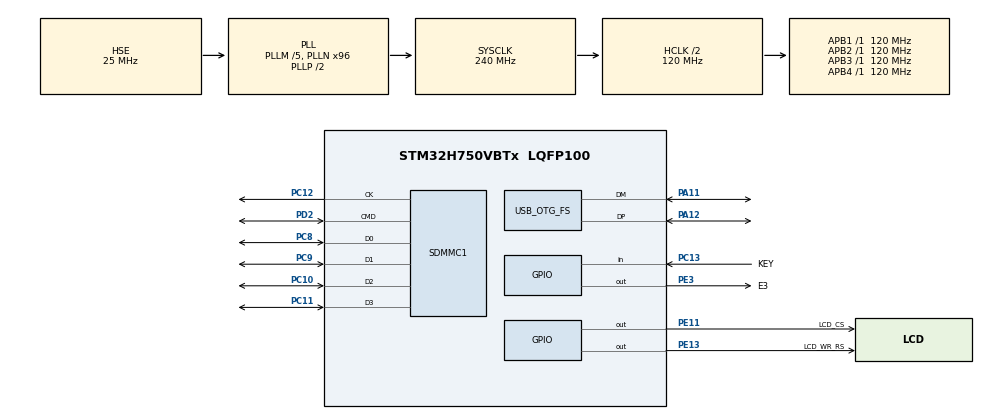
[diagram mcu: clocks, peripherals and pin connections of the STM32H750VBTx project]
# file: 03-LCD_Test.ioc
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Mcu.Family=STM32H7
Mcu.Name=STM32H750VBTx
Mcu.Package=LQFP100
NVIC.OTG_FS_IRQn=true\:0\:0\:false\:false\:true\:false\:true\:true
NVIC.PriorityGroup=NVIC_PRIORITYGROUP_4
PA11.Mode=Device_Only
PA11.Signal=USB_OTG_FS_DM
PA12.Mode=Device_Only
PA12.Signal=USB_OTG_FS_DP
PA13\ (JTMS/SWDIO).Mode=Serial_Wire
PA13\ (JTMS/SWDIO).Signal=DEBUG_JTMS-SWDIO
PA14\ (JTCK/SWCLK).Mode=Serial_Wire
PA14\ (JTCK/SWCLK).Signal=DEBUG_JTCK-SWCLK
PC10.Mode=SD_4_bits_Wide_bus
PC10.Signal=SDMMC1_D2
PC11.Mode=SD_4_bits_Wide_bus
PC11.Signal=SDMMC1_D3
PC12.Mode=SD_4_bits_Wide_bus
PC12.Signal=SDMMC1_CK
PC13.GPIO_Label=KEY
PC13.GPIO_PuPd=GPIO_PULLDOWN
PC13.Signal=GPIO_Input
PC14-OSC32_IN\ (OSC32_IN).Mode=LSE-External-Oscillator
PC14-OSC32_IN\ (OSC32_IN).Signal=RCC_OSC32_IN
PC15-OSC32_OUT\ (OSC32_OUT).Mode=LSE-External-Oscillator
PC15-OSC32_OUT\ (OSC32_OUT).Signal=RCC_OSC32_OUT
PC8.Mode=SD_4_bits_Wide_bus
PC8.Signal=SDMMC1_D0
PC9.Mode=SD_4_bits_Wide_bus
PC9.Signal=SDMMC1_D1
PD2.Mode=SD_4_bits_Wide_bus
PD2.Signal=SDMMC1_CMD
PE10.Signal=TIM1_CH2N
PE11.GPIO_Label=LCD_CS
PE11.GPIO_Speed=GPIO_SPEED_FREQ_VERY_HIGH
PE11.PinState=GPIO_PIN_SET
PE11.Signal=GPIO_Output
PE12.GPIO_Speed=GPIO_SPEED_FREQ_HIGH
PE12.Signal=SPI4_SCK
PE13.GPIO_Label=LCD_WR_RS
PE13.GPIO_Speed=GPIO_SPEED_FREQ_VERY_HIGH
PE13.PinState=GPIO_PIN_SET
PE13.Signal=GPIO_Output
PE14.GPIO_Speed=GPIO_SPEED_FREQ_HIGH
PE14.Signal=SPI4_MOSI
PE3.GPIO_Label=E3
PE3.PinState=GPIO_PIN_RESET
PE3.Signal=GPIO_Output
PH0-OSC_IN\ (PH0).Mode=HSE-External-Oscillator
PH0-OSC_IN\ (PH0).Signal=RCC_OSC_IN
PH1-OSC_OUT\ (PH1).Mode=HSE-External-Oscillator
PH1-OSC_OUT\ (PH1).Signal=RCC_OSC_OUT
ProjectManager.HeapSize=0x200
ProjectManager.StackSize=0x400
ProjectManager.TargetToolchain=MDK-ARM V5.27
RCC.ADCFreq_Value=75000000
RCC.APB1Freq_Value=120000000
RCC.APB2Freq_Value=120000000
RCC.APB3Freq_Value=120000000
RCC.APB4Freq_Value=120000000
RCC.CortexFreq_Value=240000000
RCC.DIVM1=5
RCC.DIVM2=5
RCC.DIVN1=96
RCC.DIVN2=30
RCC.DIVQ2=128
RCC.DIVQ3=128
RCC.DIVR2=1
RCC.HCLKFreq_Value=120000000
RCC.HPRE=RCC_HCLK_DIV2
RCC.HSE_VALUE=25000000
RCC.PLLFRACN=0
RCC.PLLSourceVirtual=RCC_PLLSOURCE_HSE
RCC.PWR_Regulator_Voltage_Scale=PWR_REGULATOR_VOLTAGE_SCALE0
RCC.ProductRev=revV
RCC.RTCClockSelection=RCC_RTCCLKSOURCE_LSE
RCC.SDMMC1CLockSelection=RCC_SDMMCCLKSOURCE_PLL2
RCC.SYSCLKFreq_VALUE=240000000
RCC.SYSCLKSource=RCC_SYSCLKSOURCE_PLLCLK
RCC.USBCLockSelection=RCC_USBCLKSOURCE_HSI48
RCC.USBFreq_Value=48000000
SDMMC1.ClockDiv=5
USB_DEVICE.CLASS_NAME_FS=CDC
USB_DEVICE.VirtualMode-CDC_FS=Cdc
USB_DEVICE.VirtualModeFS=Cdc_FS
USB_OTG_FS.VirtualMode=Device_Only
VP_USB_DEVICE_VS_USB_DEVICE_CDC_FS.Mode=CDC_FS
board=custom

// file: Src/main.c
/* USER CODE BEGIN Header */
/**
  ******************************************************************************
  * @file           : main.c
  * @brief          : Main program body
  ******************************************************************************
  * @attention
  *
  * <h2><center>&copy; Copyright (c) 2020 STMicroelectronics.
  * All rights reserved.</center></h2>
  *
  * This software component is licensed by ST under BSD 3-Clause license,
  * the "License"; You may not use this file except in compliance with the
  * License. You may obtain a copy of the License at:
  *                        opensource.org/licenses/BSD-3-Clause
  *
  ******************************************************************************
  */
/* USER CODE END Header */
#include "main.h"
#include "sdmmc.h"
#include "usb_device.h"
#include "gpio.h"

/* USER CODE BEGIN Includes */
#include "lcd.h"
#include "Dsp_if.h"
#include "Data_if.h"
/* USER CODE END Includes */

/* USER CODE BEGIN PV */
static volatile float f4l_Main_Mean;
static volatile float f4l_Main_Variance;
static volatile float f4l_Main_StandardDeviation;
static volatile float f4l_Main_ArmStandardDeviation;
/* USER CODE END PV */

void SystemClock_Config(void);

/* USER CODE BEGIN 0 */

static void LED_Blink(uint32_t Hdelay,uint32_t Ldelay)
{
  HAL_GPIO_WritePin(E3_GPIO_Port,E3_Pin,GPIO_PIN_SET);
  HAL_Delay(Hdelay - 1);
  HAL_GPIO_WritePin(E3_GPIO_Port,E3_Pin,GPIO_PIN_RESET);
  HAL_Delay(Ldelay-1);
}

/* USER CODE END 0 */

int main(void)
{

  /* MCU Configuration--------------------------------------------------------*/

  /* Reset of all peripherals, Initializes the Flash interface and the Systick. */
  HAL_Init();

  /* Configure the system clock */
  SystemClock_Config();

  /* Initialize all configured peripherals */
  MX_GPIO_Init();
  MX_SDMMC1_SD_Init();
  MX_USB_DEVICE_Init();
  /* USER CODE BEGIN 2 */
  vog_Dsp_CalSignalMean( &inputSignal_f32_1kHz_15kHz[0],
                         U1L_DATA_f32_1kHz_15kHz_LENGTH,
                         (float*)&f4l_Main_Mean );

  vog_Dsp_CalVariance( &inputSignal_f32_1kHz_15kHz[0],
                        U1L_DATA_f32_1kHz_15kHz_LENGTH,
                        f4l_Main_Mean,
                        (float*)&f4l_Main_Variance );

  vog_Dsp_CalStandardDeviation( &inputSignal_f32_1kHz_15kHz[0],
                                U1L_DATA_f32_1kHz_15kHz_LENGTH,
                                f4l_Main_Mean,
                                (float*)&f4l_Main_StandardDeviation );

  arm_std_f32( &inputSignal_f32_1kHz_15kHz[0],
               U1L_DATA_f32_1kHz_15kHz_LENGTH,
               (float*)&f4l_Main_ArmStandardDeviation );

  /* USER CODE END 2 */

  /* Infinite loop */
  while (1)
  {

  }
}

void SystemClock_Config(void)
{
  RCC_OscInitTypeDef RCC_OscInitStruct = {0};
  RCC_ClkInitTypeDef RCC_ClkInitStruct = {0};

  /** Supply configuration update enable
  */
  HAL_PWREx_ConfigSupply(PWR_LDO_SUPPLY);

  /** Configure the main internal regulator output voltage
  */
  __HAL_PWR_VOLTAGESCALING_CONFIG(PWR_REGULATOR_VOLTAGE_SCALE1);

  while(!__HAL_PWR_GET_FLAG(PWR_FLAG_VOSRDY)) {}

  __HAL_RCC_SYSCFG_CLK_ENABLE();
  __HAL_PWR_VOLTAGESCALING_CONFIG(PWR_REGULATOR_VOLTAGE_SCALE0);

  while(!__HAL_PWR_GET_FLAG(PWR_FLAG_VOSRDY)) {}

  /** Initializes the RCC Oscillators according to the specified parameters
  * in the RCC_OscInitTypeDef structure.
  */
  RCC_OscInitStruct.OscillatorType = RCC_OSCILLATORTYPE_HSI48|RCC_OSCILLATORTYPE_HSE;
  RCC_OscInitStruct.HSEState = RCC_HSE_ON;
  RCC_OscInitStruct.HSI48State = RCC_HSI48_ON;
  RCC_OscInitStruct.PLL.PLLState = RCC_PLL_ON;
  RCC_OscInitStruct.PLL.PLLSource = RCC_PLLSOURCE_HSE;
  RCC_OscInitStruct.PLL.PLLM = 5;
  RCC_OscInitStruct.PLL.PLLN = 96;
  RCC_OscInitStruct.PLL.PLLP = 2;
  RCC_OscInitStruct.PLL.PLLQ = 2;
  RCC_OscInitStruct.PLL.PLLR = 2;
  RCC_OscInitStruct.PLL.PLLRGE = RCC_PLL1VCIRANGE_2;
  RCC_OscInitStruct.PLL.PLLVCOSEL = RCC_PLL1VCOWIDE;
  RCC_OscInitStruct.PLL.PLLFRACN = 0;
  if (HAL_RCC_OscConfig(&RCC_OscInitStruct) != HAL_OK)
  {
    Error_Handler();
  }

  /** Initializes the CPU, AHB and APB buses clocks
  */
  RCC_ClkInitStruct.ClockType = RCC_CLOCKTYPE_HCLK|RCC_CLOCKTYPE_SYSCLK
                              |RCC_CLOCKTYPE_PCLK1|RCC_CLOCKTYPE_PCLK2
                              |RCC_CLOCKTYPE_D3PCLK1|RCC_CLOCKTYPE_D1PCLK1;
  RCC_ClkInitStruct.SYSCLKSource = RCC_SYSCLKSOURCE_PLLCLK;
  RCC_ClkInitStruct.SYSCLKDivider = RCC_SYSCLK_DIV1;
  RCC_ClkInitStruct.AHBCLKDivider = RCC_HCLK_DIV2;
  RCC_ClkInitStruct.APB3CLKDivider = RCC_APB3_DIV1;
  RCC_ClkInitStruct.APB1CLKDivider = RCC_APB1_DIV1;
  RCC_ClkInitStruct.APB2CLKDivider = RCC_APB2_DIV1;
  RCC_ClkInitStruct.APB4CLKDivider = RCC_APB4_DIV1;

  if (HAL_RCC_ClockConfig(&RCC_ClkInitStruct, FLASH_LATENCY_1) != HAL_OK)
  {
    Error_Handler();
  }
}

void Error_Handler(void)
{
  /* USER CODE BEGIN Error_Handler_Debug */
  /* User can add his own implementation to report the HAL error return state */
  LED_Blink(500,500);
  /* USER CODE END Error_Handler_Debug */
}
